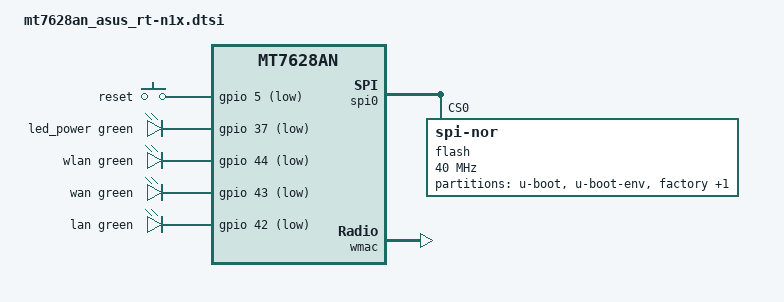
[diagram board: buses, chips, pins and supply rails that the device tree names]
// SPDX-License-Identifier: GPL-2.0-or-later

#include "mt7628an.dtsi"

#include <dt-bindings/gpio/gpio.h>
#include <dt-bindings/input/input.h>
#include <dt-bindings/leds/common.h>

/ {
	aliases {
		led-boot = &led_power;
		led-failsafe = &led_power;
		led-running = &led_power;
		led-upgrade = &led_power;
	};

	keys {
		compatible = "gpio-keys";

		reset {
			label = "reset";
			gpios = <&gpio 5 GPIO_ACTIVE_LOW>;
			linux,code = <KEY_RESTART>;
		};
	};

	leds {
		compatible = "gpio-leds";

		led_power: power {
			function = LED_FUNCTION_POWER;
			color = <LED_COLOR_ID_GREEN>;
			gpios = <&gpio 37 GPIO_ACTIVE_LOW>;
		};

		wlan {
			function = LED_FUNCTION_WLAN;
			color = <LED_COLOR_ID_GREEN>;
			gpios = <&gpio 44 GPIO_ACTIVE_LOW>;
			linux,default-trigger = "phy0tpt";
		};

		wan {
			function = LED_FUNCTION_WAN;
			color = <LED_COLOR_ID_GREEN>;
			gpios = <&gpio 43 GPIO_ACTIVE_LOW>;
		};

		lan {
			function = LED_FUNCTION_LAN;
			color = <LED_COLOR_ID_GREEN>;
			gpios = <&gpio 42 GPIO_ACTIVE_LOW>;
		};
	};
};

&spi0 {
	status = "okay";

	flash@0 {
		compatible = "jedec,spi-nor";
		reg = <0>;
		spi-max-frequency = <40000000>;

		partitions {
			compatible = "fixed-partitions";
			#address-cells = <1>;
			#size-cells = <1>;

			partition@0 {
				label = "u-boot";
				reg = <0x0 0x30000>;
				read-only;
			};

			partition@30000 {
				label = "u-boot-env";
				reg = <0x30000 0x10000>;
				read-only;
			};

			partition@40000 {
				label = "factory";
				reg = <0x40000 0x10000>;
				read-only;

				nvmem-layout {
					compatible = "fixed-layout";
					#address-cells = <1>;
					#size-cells = <1>;

					eeprom_factory_0: eeprom@0 {
						reg = <0x0 0x400>;
					};

					macaddr_factory_4: macaddr@4 {
						reg = <0x4 0x6>;
					};
				};
			};

			partition@50000 {
				compatible = "denx,uimage";
				label = "firmware";
				reg = <0x50000 0x7b0000>;
			};
		};
	};
};

&ethernet {
	nvmem-cells = <&macaddr_factory_4>;
	nvmem-cell-names = "mac-address";
};

&esw {
	mediatek,portmap = <0x2f>;
};

&wmac {
	status = "okay";

	nvmem-cells = <&eeprom_factory_0>;
	nvmem-cell-names = "eeprom";
};

&state_default {
	gpio {
		groups = "i2c", "p0led_an", "p1led_an", "refclk", "wled_an";
		function = "gpio";
	};
};

&usbphy {
	status = "disabled";
};

&ehci {
	status = "disabled";
};

&ohci {
	status = "disabled";
};
